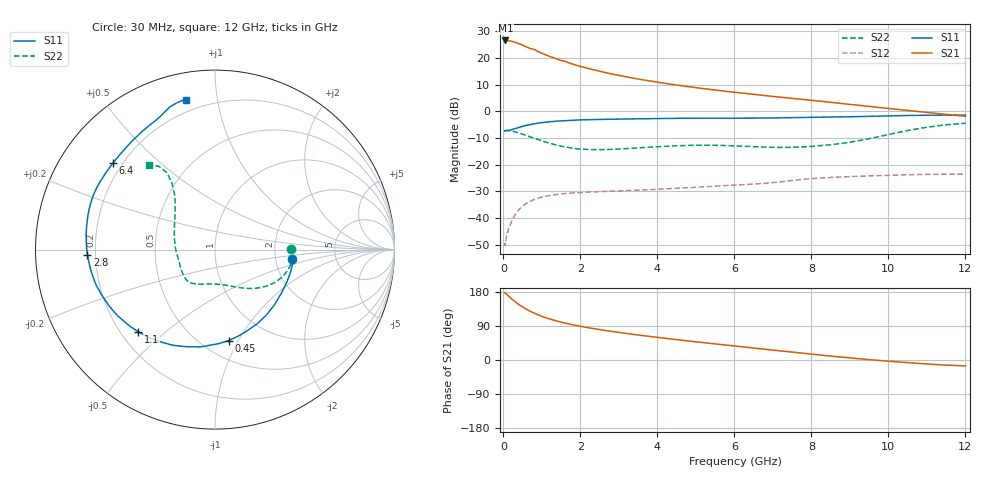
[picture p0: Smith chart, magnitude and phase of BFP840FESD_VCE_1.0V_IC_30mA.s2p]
! Infineon Technologies  Discrete & RF Semiconductors
! BFP840FESD
! VCE =  1.0 V,  IC =  30 mA
! Common Emitter S-Parameters:  May 2012
# GHz  S  MA  R  50
!  f  S11  S21  S12  S22
! GHz  MAG  ANG  MAG  ANG  MAG  ANG  MAG  ANG
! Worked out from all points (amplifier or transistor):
!   103 points, 30 MHz to 12 GHz, reference 50 ohm
!   highest |S21| = 26.5 dB at 50 MHz (marker M1)
!   |S21| within 3 dB of that: start of sweep to 696.1 MHz
!   unconditionally stable (mu >= 1): start of sweep to 656.5 MHz; 1.365 GHz to end of sweep
!   at 400 MHz: K = 1.23, MAG = 28.1 dB, |S12| = -36.8 dB
!   at 3.7 GHz: K = 1.68, MAG = 15.7 dB, |S12| = -29.3 dB
!   at 12 GHz: K = 2.04, MAG = 5.0 dB, |S12| = -23.5 dB
!   S11 on the Smith chart (normalised r, x): 30 MHz: 2.48, -0.32; 450 MHz: 0.66, -0.91; 1.1 GHz: 0.27, -0.41; 2.8 GHz: 0.17, -0.02; 6.4 GHz: 0.16, +0.36; 12 GHz: 0.14, +0.82
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0.03  0.4324 -6.9  21.01 176.9  0.003 35.6  0.4222 0.8
0.04  0.4323 -9.1  20.95 176.1  0.0034 34.9  0.4274 -0.1
0.05  0.4396 -11.1  21.16 176.7  0.0032 46.7  0.4296 -0.8
0.11  0.4393 -24.2  21.03 171.0  0.0055 47.2  0.4345 -6.2
0.2  0.4519 -42.6  20.49 162.4  0.0083 54.9  0.4276 -12.8
0.35  0.4858 -67.9  19.11 150.3  0.0129 55.3  0.4025 -22.5
0.45  0.5122 -81.5  17.86 143.1  0.0156 52.6  0.3833 -28.0
0.6  0.5478 -98.3  15.98 133.7  0.019 48.6  0.3522 -35.2
0.7  0.5659 -107.2  14.94 128.2  0.0208 46.0  0.332 -39.4
0.8  0.5829 -114.0  14.34 123.7  0.0224 43.3  0.313 -43.5
0.9  0.5997 -121.6  13.12 119.1  0.0238 41.5  0.2959 -47.1
1.1  0.6261 -133.1  11.37 111.5  0.0258 37.8  0.2658 -53.7
1.5  0.6626 -149.4  8.913 99.8  0.0285 32.6  0.2228 -66.0
1.8  0.6803 -158.3  7.637 92.9  0.0298 30.2  0.2038 -75.0
2.1  0.6934 -165.4  6.617 87.0  0.0304 28.8  0.1952 -83.4
2.8  0.7113 -177.8  5.021 75.6  0.032 27.7  0.194 -99.4
4.1  0.7338 164.6  3.424 58.5  0.0351 29.5  0.2193 -119.2
6.1  0.7439 143.0  2.237 35.9  0.042 32.9  0.2242 -143.2
6.4  0.7461 139.6  2.114 32.6  0.0432 33.4  0.2198 -148.1
8.5  0.7822 118.1  1.475 10.3  0.058 30.8  0.2365 163.5
10.5  0.8343 107.5  1.039 -6.9  0.065 23.4  0.4376 123.1
12  0.8506 100.8  0.805 -15.6  0.067 20.7  0.5967 128.1
